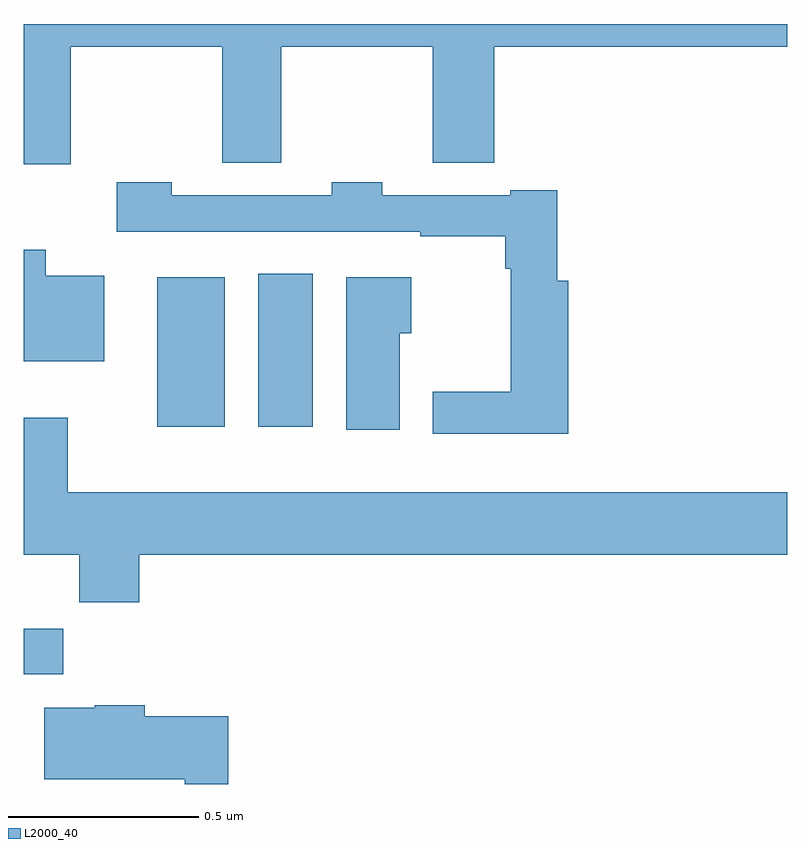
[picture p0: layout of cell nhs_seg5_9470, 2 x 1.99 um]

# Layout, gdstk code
import gdstk
lib = gdstk.Library(unit=1e-6, precision=1e-09)
def R(c, l, rs):  # rectangles x0, y0, x1, y1
    for r in rs: c.add(gdstk.rectangle(r[:2], r[2:], *l))
def P(c, l, *ps):  # polygons
    for p in ps: c.add(gdstk.Polygon(p, *l))
L2000_40 = (2000, 40)

nhs_seg5_9470 = lib.new_cell('nhs_seg5_9470')
R(nhs_seg5_9470, L2000_40, [(234,875.096,234.104,875.215), (234.35,875.744,234.526,876.136), (234.614,875.744,234.757,876.145)])
P(nhs_seg5_9470, L2000_40, [(234.123,876.74),(234.52,876.74),(234.52,876.436),(234.674,876.436),(234.674,876.74),(235.072,876.74),(235.072,876.436),(235.232,876.436),(235.232,876.74),(236,876.74),(236,876.799),(234,876.799),(234,876.432),(234.123,876.432)],
  [(235.427,876.127),(235.397,876.127),(235.397,876.364),(235.274,876.364),(235.274,876.351),(234.939,876.351),(234.939,876.384),(234.807,876.384),(234.807,876.351),(234.387,876.351),(234.387,876.384),(234.243,876.384),(234.243,876.255),(235.039,876.255),(235.039,876.243),(235.261,876.243),(235.261,876.158),(235.276,876.158),(235.276,875.836),(235.071,875.836),(235.071,875.726),(235.427,875.726)],
  [(234.211,876.139),(234.057,876.139),(234.057,876.207),(234,876.207),(234,875.915),(234.211,875.915)],
  [(234.985,875.989),(235.015,875.989),(235.015,876.136),(234.845,876.136),(234.845,875.736),(234.985,875.736)],
  [(234.302,875.408),(236,875.408),(236,875.572),(234.115,875.572),(234.115,875.767),(234,875.767),(234,875.408),(234.145,875.408),(234.145,875.284),(234.302,875.284)],
  [(234.535,874.986),(234.317,874.986),(234.317,875.014),(234.186,875.014),(234.186,875.008),(234.053,875.008),(234.053,874.82),(234.422,874.82),(234.422,874.808),(234.535,874.808)])

lib.write_gds('nhs_seg5_9470.gds')
